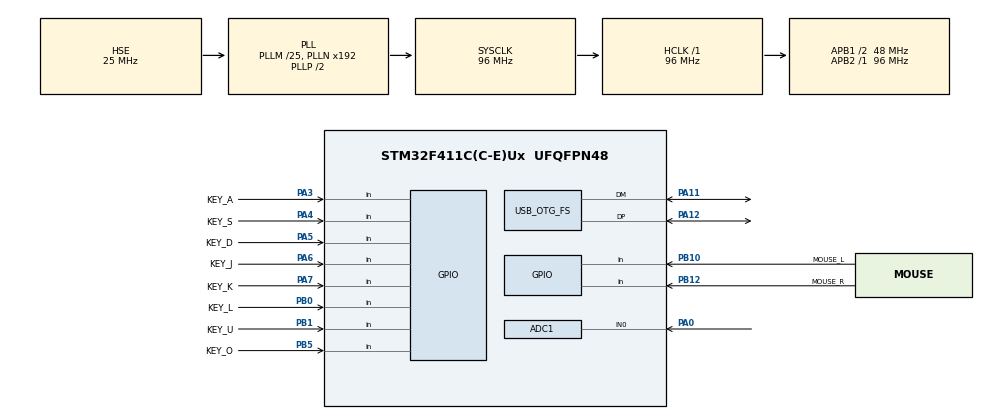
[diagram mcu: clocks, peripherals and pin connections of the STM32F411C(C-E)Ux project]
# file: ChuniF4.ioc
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ADC1.Channel-0\#ChannelRegularConversion=ADC_CHANNEL_0
ADC1.ContinuousConvMode=ENABLE
ADC1.DMAContinuousRequests=ENABLE
ADC1.NbrOfConversionFlag=1
ADC1.Rank-0\#ChannelRegularConversion=1
ADC1.SamplingTime-0\#ChannelRegularConversion=ADC_SAMPLETIME_84CYCLES
ADC1.master=1
Dma.ADC1.0.Direction=DMA_PERIPH_TO_MEMORY
Dma.ADC1.0.FIFOMode=DMA_FIFOMODE_DISABLE
Dma.ADC1.0.Instance=DMA2_Stream0
Dma.ADC1.0.MemDataAlignment=DMA_MDATAALIGN_HALFWORD
Dma.ADC1.0.MemInc=DMA_MINC_DISABLE
Dma.ADC1.0.Mode=DMA_CIRCULAR
Dma.ADC1.0.PeriphDataAlignment=DMA_PDATAALIGN_HALFWORD
Dma.ADC1.0.PeriphInc=DMA_PINC_DISABLE
Dma.ADC1.0.Priority=DMA_PRIORITY_MEDIUM
Dma.Request0=ADC1
Mcu.Family=STM32F4
Mcu.Name=STM32F411C(C-E)Ux
Mcu.Package=UFQFPN48
NVIC.DMA2_Stream0_IRQn=true\:0\:0\:false\:false\:true\:false\:true\:true
NVIC.OTG_FS_IRQn=true\:0\:0\:false\:false\:true\:false\:true\:true
NVIC.PriorityGroup=NVIC_PRIORITYGROUP_4
PA0-WKUP.Signal=ADCx_IN0
PA11.Mode=Device_Only
PA11.Signal=USB_OTG_FS_DM
PA12.Mode=Device_Only
PA12.Signal=USB_OTG_FS_DP
PA13.Mode=Serial_Wire
PA13.Signal=SYS_JTMS-SWDIO
PA14.Mode=Serial_Wire
PA14.Signal=SYS_JTCK-SWCLK
PA3.GPIO_Label=KEY_A
PA3.GPIO_PuPd=GPIO_PULLUP
PA3.Signal=GPIO_Input
PA4.GPIO_Label=KEY_S
PA4.GPIO_PuPd=GPIO_PULLUP
PA4.Signal=GPIO_Input
PA5.GPIO_Label=KEY_D
PA5.GPIO_PuPd=GPIO_PULLUP
PA5.Signal=GPIO_Input
PA6.GPIO_Label=KEY_J
PA6.GPIO_PuPd=GPIO_PULLUP
PA6.Signal=GPIO_Input
PA7.GPIO_Label=KEY_K
PA7.GPIO_PuPd=GPIO_PULLUP
PA7.Signal=GPIO_Input
PB0.GPIO_Label=KEY_L
PB0.GPIO_PuPd=GPIO_PULLUP
PB0.Signal=GPIO_Input
PB1.GPIO_Label=KEY_U
PB1.GPIO_PuPd=GPIO_PULLUP
PB1.Signal=GPIO_Input
PB10.GPIO_Label=MOUSE_L
PB10.GPIO_PuPd=GPIO_PULLUP
PB10.Signal=GPIO_Input
PB12.GPIO_Label=MOUSE_R
PB12.GPIO_PuPd=GPIO_PULLUP
PB12.Signal=GPIO_Input
PB5.GPIO_Label=KEY_O
PB5.GPIO_PuPd=GPIO_PULLUP
PB5.Signal=GPIO_Input
PC14-OSC32_IN.Mode=LSE-External-Oscillator
PC14-OSC32_IN.Signal=RCC_OSC32_IN
PC15-OSC32_OUT.Mode=LSE-External-Oscillator
PC15-OSC32_OUT.Signal=RCC_OSC32_OUT
PH0\ -\ OSC_IN.Mode=HSE-External-Oscillator
PH0\ -\ OSC_IN.Signal=RCC_OSC_IN
PH1\ -\ OSC_OUT.Mode=HSE-External-Oscillator
PH1\ -\ OSC_OUT.Signal=RCC_OSC_OUT
ProjectManager.HeapSize=0x200
ProjectManager.StackSize=0x400
ProjectManager.TargetToolchain=MDK-ARM V5.32
RCC.48MHZClocksFreq_Value=48000000
RCC.AHBFreq_Value=96000000
RCC.APB1CLKDivider=RCC_HCLK_DIV2
RCC.APB1Freq_Value=48000000
RCC.APB1TimFreq_Value=96000000
RCC.APB2Freq_Value=96000000
RCC.APB2TimFreq_Value=96000000
RCC.CortexFreq_Value=96000000
RCC.HCLKFreq_Value=96000000
RCC.HSE_VALUE=25000000
RCC.HSI_VALUE=16000000
RCC.PLLM=25
RCC.SYSCLKFreq_VALUE=96000000
RCC.SYSCLKSource=RCC_SYSCLKSOURCE_PLLCLK
RCC.VCOOutputFreq_Value=192000000
SH.ADCx_IN0.0=ADC1_IN0,IN0
USB_DEVICE.CLASS_NAME_FS=HID
USB_DEVICE.VirtualMode=Hid
USB_DEVICE.VirtualModeFS=Hid_FS
USB_OTG_FS.VirtualMode=Device_Only
VP_USB_DEVICE_VS_USB_DEVICE_HID_FS.Mode=HID_FS
board=custom

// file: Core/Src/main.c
/* USER CODE BEGIN Header */
/**
  ******************************************************************************
  * @file           : main.c
  * @brief          : Main program body
  ******************************************************************************
  */
/* USER CODE END Header */

#include "main.h"
#include "usb_device.h"

/* USER CODE BEGIN Includes */
#include "usbd_hid.h"
#include "lever_calibration.h"
/* USER CODE END Includes */

/* USER CODE BEGIN PD */

/*
 * IO4 Input Report
 *
 * Byte 0      :	  Report ID = 0x01
 * Byte 1~16   : ADC[0..7], uint16 little-endian
 * Byte 17~24  : Spinner[0..3]
 * Byte 25~28  : Chute[0..1]
 * Byte 29~30  : Buttons[0]
 * Byte 31~32  : Buttons[1]
 * Byte 33     : System Status
 * Byte 34     : USB Status
 * Byte 35~63  : LC v1 calibration status extension
 */
#define IO4_REPORT_SIZE        64U
#define IO4_REPORT_ID          0x01U

/*
 * ADC -> IO4 Analog 的映射与三点校准全部由 lever_calibration 模块负责。
 * 本文件不再持有任何转换参数。
 */

/* USER CODE END PD */

ADC_HandleTypeDef hadc1;
DMA_HandleTypeDef hdma_adc1;

/* USER CODE BEGIN PV */

extern USBD_HandleTypeDef hUsbDeviceFS;

/*
 * DMA不断把ADC最新结果写入这里
 */
volatile uint16_t adc_raw = 2048U;

/*
 * 1ms HID发送节拍
 */
static uint32_t last_hid_tick = 0U;

/*
 * 调试状态刷新节拍（100ms）
 */
static uint32_t last_debug_tick = 0U;

/*
 * 硬件验收调试变量。
 *
 * 只供调试器在线观察，不参与任何逻辑判断。
 * io4_debug_stats 每 100ms 非阻塞刷新一次。
 */
volatile USBD_HID_IO4StatsTypeDef io4_debug_stats;
volatile uint16_t io4_debug_lever = 0U;
volatile uint16_t io4_debug_buttons0 = 0U;
volatile uint16_t io4_debug_buttons1 = 0U;

/* USER CODE END PV */

void SystemClock_Config(void);
static void MX_GPIO_Init(void);
static void MX_DMA_Init(void);
static void MX_ADC1_Init(void);

/* USER CODE BEGIN PFP */

static void IO4_WriteU16(uint8_t *buffer, uint16_t value);
static void IO4_ReadButtons(uint16_t *buttons0, uint16_t *buttons1);
static void IO4_SendInputReport(void);
static void IO4_Task(void);

/* USER CODE END PFP */

/* USER CODE BEGIN 0 */

/*
 * 将uint16_t按照Little Endian写入USB Report。
 *
 * IO4的数据是Little Endian。
 */
static void IO4_WriteU16(uint8_t *buffer, uint16_t value)
{
    buffer[0] = (uint8_t)(value & 0xFFU);
    buffer[1] = (uint8_t)((value >> 8) & 0xFFU);
}

/*
 * 读取音击10个数字输入。
 *
 * 当前GPIO全部是：
 *
 * GPIO_PULLUP
 *
 * 因此：
 *
 * 普通八键：HIGH = 松开，LOW = 按下
 * 两个侧键 LS / RS：HIGH = 按下，LOW = 松开
 *
 *
 * 映射参考 ongeeki-firmware：
 *
 * 左侧：
 * A -> LA
 * S -> LB
 * D -> LC
 * MOUSE_L -> LS
 * U -> LM
 *
 * 右侧：
 * J -> RA
 * K -> RB
 * L -> RC
 * MOUSE_R -> RS
 * O -> RM
 */
static void IO4_ReadButtons(uint16_t *buttons0, uint16_t *buttons1)
{
    uint16_t b0 = 0U;
    uint16_t b1 = 0U;

    /* =====================================================
       Left A
       player 0 / bit 0
       ===================================================== */
    if (HAL_GPIO_ReadPin(KEY_A_GPIO_Port,
                         KEY_A_Pin) == GPIO_PIN_RESET)
    {
        b0 |= (1U << 0);
    }

    /* =====================================================
       Left B
       player 0 / bit 5
       ===================================================== */
    if (HAL_GPIO_ReadPin(KEY_S_GPIO_Port,
                         KEY_S_Pin) == GPIO_PIN_RESET)
    {
        b0 |= (1U << 5);
    }

    /* =====================================================
       Left C
       player 0 / bit 4
       ===================================================== */
    if (HAL_GPIO_ReadPin(KEY_D_GPIO_Port,
                         KEY_D_Pin) == GPIO_PIN_RESET)
    {
        b0 |= (1U << 4);
    }

    /* =====================================================
       Left Side
       player 1 / bit 15
       ===================================================== */
    if (HAL_GPIO_ReadPin(MOUSE_L_GPIO_Port,
                         MOUSE_L_Pin) == GPIO_PIN_SET)
    {
        b1 |= (1U << 15);
    }

    /* =====================================================
       Left Menu
       player 1 / bit 14
       ===================================================== */
    if (HAL_GPIO_ReadPin(KEY_U_GPIO_Port,
                         KEY_U_Pin) == GPIO_PIN_RESET)
    {
        b1 |= (1U << 14);
    }

    /* =====================================================
       Right A
       player 0 / bit 1
       ===================================================== */
    if (HAL_GPIO_ReadPin(KEY_J_GPIO_Port,
                         KEY_J_Pin) == GPIO_PIN_RESET)
    {
        b0 |= (1U << 1);
    }

    /* =====================================================
       Right B
       player 1 / bit 0
       ===================================================== */
    if (HAL_GPIO_ReadPin(KEY_K_GPIO_Port,
                         KEY_K_Pin) == GPIO_PIN_RESET)
    {
        b1 |= (1U << 0);
    }

    /* =====================================================
       Right C
       player 0 / bit 15
       ===================================================== */
    if (HAL_GPIO_ReadPin(KEY_L_GPIO_Port,
                         KEY_L_Pin) == GPIO_PIN_RESET)
    {
        b0 |= (1U << 15);
    }

    /* =====================================================
       Right Side
       player 0 / bit 14
       ===================================================== */
    if (HAL_GPIO_ReadPin(MOUSE_R_GPIO_Port,
                         MOUSE_R_Pin) == GPIO_PIN_SET)
    {
        b0 |= (1U << 14);
    }

    /* =====================================================
       Right Menu
       player 0 / bit 13
       ===================================================== */
    if (HAL_GPIO_ReadPin(KEY_O_GPIO_Port,
                         KEY_O_Pin) == GPIO_PIN_RESET)
    {
        b0 |= (1U << 13);
    }

    *buttons0 = b0;
    *buttons1 = b1;
}

/*
 * 构造并发送完整64-byte IO4 Input Report
 */
static void IO4_SendInputReport(void)
{
    /* USB transmits asynchronously: storage must outlive this function.
       IO4_Task only fills it when the previous transfer has completed. */
    static uint8_t report[IO4_REPORT_SIZE];

    uint16_t buttons0;
    uint16_t buttons1;

    uint16_t lever;

    /*
     * Report ID
     */
    report[0] = IO4_REPORT_ID;

    /*
     * Lever
     *
     * IO4:
     * ADC0 = Byte 1~2
     *
     * ADC -> IO4 的映射由 lever_calibration 模块负责。
     */
    lever = LeverCal_Convert(adc_raw);

    io4_debug_lever = lever;

    IO4_WriteU16(&report[1], lever);

    /*
     * ADC1~ADC7
     *
     * 当前全部保持0。
     *
     * report[3] ~ report[16]
     */

    /*
     * Spinner 0~3
     *
     * 当前全部为0。
     *
     * report[17] ~ report[24]
     */

    /*
     * Chute / Coin inputs
     *
     * 当前全部为0。
     *
     * report[25] ~ report[28]
     */

    /*
     * Buttons
     */
    IO4_ReadButtons(&buttons0, &buttons1);

    io4_debug_buttons0 = buttons0;
    io4_debug_buttons1 = buttons1;

    /*
     * Buttons[0]
     * Byte 29~30
     */
    IO4_WriteU16(&report[29], buttons0);

    /*
     * Buttons[1]
     * Byte 31~32
     */
    IO4_WriteU16(&report[31], buttons1);

    /*
     * System Status
     *
     * 完整 IO4 系统控制尚未实现，此字段保持 0。
     * 校准命令通过 0x10/C0/LC 扩展处理，状态写在 byte35..63。
     */
    report[33] = 0x00;

    /*
     * USB Status
     */
    report[34] = 0x00;

    /*
     * Byte 35~63: versioned lever calibration telemetry
     */

    LeverCal_WriteStatus(&report[35]);
    {
        USBD_HID_IO4StatsTypeDef stats;
        USBD_HID_GetIO4Stats(&stats);
        IO4_WriteU16(&report[62], (uint16_t)stats.calibration_queue_drops);
    }

    USBD_HID_SendReport(&hUsbDeviceFS,
                        report,
                        IO4_REPORT_SIZE);
}

/*
 * USB HID 1kHz发送任务
 */
static void IO4_Task(void)
{
    uint32_t now;
    static uint32_t generation;
    static uint32_t save_notice_started;
    static uint8_t save_notice_sent;
    uint8_t command[LEVER_CAL_COMMAND_SIZE];
    USBD_HID_IO4StatsTypeDef stats;

    now = HAL_GetTick();

    /*
     * 每1ms最多发送一帧
     */
    if (now == last_hid_tick)
    {
        return;
    }

    last_hid_tick = now;
    USBD_HID_GetIO4Stats(&stats);
    if (generation != stats.connection_generation)
    {
        generation = stats.connection_generation;
        LeverCal_Cancel(); /* never carry a pending capture across USB reset */
        save_notice_sent = 0U;
    }

    /*
     * USB没有完成枚举时不发送
     */
    if (hUsbDeviceFS.dev_state != USBD_STATE_CONFIGURED)
    {
        LeverCal_Cancel();
        save_notice_sent = 0U;
        return;
    }
    if (USBD_HID_GetNextCalibrationCommand(command))
    {
        (void)LeverCal_HandleCommand(command, sizeof(command), now);
    }
    LeverCal_Task(adc_raw, now,
        HAL_ADC_GetError(&hadc1) == HAL_ADC_ERROR_NONE &&
        HAL_DMA_GetError(&hdma_adc1) == HAL_DMA_ERROR_NONE &&
        (ADC1->CR2 & ADC_CR2_ADON) != 0U &&
        (hdma_adc1.Instance->CR & DMA_SxCR_EN) != 0U);
    if (LeverCal_SavePending())
    {
        if (save_notice_sent == 0U)
        {
            save_notice_started = now;
            save_notice_sent = 1U;
        }
        if (save_notice_sent == 1U)
        {
            /* Make the pending state visible before any potentially long erase. */
            if (USBD_HID_CanSendReport(&hUsbDeviceFS))
            {
                IO4_SendInputReport();
                save_notice_sent = 2U;
            }
            else if ((uint32_t)(now - save_notice_started) > 3000U)
            {
                LeverCal_SaveNoticeTimedOut();
                save_notice_sent = 0U;
            }
            return;
        }
        if (USBD_HID_CanSendReport(&hUsbDeviceFS))
        {
            /* The SAVING report reached the host. HAL keeps IRQs enabled;
               single-bank Flash busy can still pause code fetch / USB service. */
            LeverCal_ProcessSave();
            save_notice_sent = 0U;
        }
        else
        {
            if ((uint32_t)(now - save_notice_started) > 3000U)
            {
                LeverCal_SaveNoticeTimedOut();
                save_notice_sent = 0U;
            }
            return;
        }
    }
    else { save_notice_sent = 0U; }
    if (!USBD_HID_CanSendReport(&hUsbDeviceFS)) { return; }

    /*
     * 一帧包含当前全部状态：
     *
     * Lever
     * Buttons
     *
     * 即使没有发生变化，也持续发送。
     */
    IO4_SendInputReport();
}

/* USER CODE END 0 */

int main(void)
{

  /* MCU Configuration--------------------------------------------------------*/

  HAL_Init();

  /* USER CODE BEGIN Init */
  LeverCal_Init();

  /* USER CODE END Init */

  SystemClock_Config();

  /* Initialize all configured peripherals */
  MX_GPIO_Init();
  MX_DMA_Init();
  MX_ADC1_Init();
  MX_USB_DEVICE_Init();

  /* USER CODE BEGIN 2 */

  /*
   * 启动ADC Continuous + DMA
   */
  if (HAL_ADC_Start_DMA(&hadc1,
                        (uint32_t *)&adc_raw,
                        1) != HAL_OK)
  {
      Error_Handler();
  }

  /* DMA keeps refreshing adc_raw in hardware. Avoid an interrupt for every
     conversion: no HT/TC callbacks consume this single-word circular buffer.
     Transfer/error interrupts remain enabled. */
  __HAL_DMA_DISABLE_IT(&hdma_adc1, DMA_IT_HT | DMA_IT_TC);

  /* USER CODE END 2 */

  /* Infinite loop */
  /* USER CODE BEGIN WHILE */

  while (1)
  {
      IO4_Task();

    /* USER CODE END WHILE */

    /* USER CODE BEGIN 3 */

      /*
       * 每 100ms 非阻塞刷新一次 USB OUT 统计，供调试器在线观察。
       */
      if ((HAL_GetTick() - last_debug_tick) >= 100U)
      {
          last_debug_tick = HAL_GetTick();

          USBD_HID_GetIO4Stats((USBD_HID_IO4StatsTypeDef *)&io4_debug_stats);
      }
  }

  /* USER CODE END 3 */
}

void SystemClock_Config(void)
{
  RCC_OscInitTypeDef RCC_OscInitStruct = {0};
  RCC_ClkInitTypeDef RCC_ClkInitStruct = {0};

  /**
    * Configure the main internal regulator output voltage
    */
  __HAL_RCC_PWR_CLK_ENABLE();

  __HAL_PWR_VOLTAGESCALING_CONFIG(
      PWR_REGULATOR_VOLTAGE_SCALE1);

  /**
    * Initializes RCC Oscillators
    */
  RCC_OscInitStruct.OscillatorType =
      RCC_OSCILLATORTYPE_HSE;

  RCC_OscInitStruct.HSEState =
      RCC_HSE_ON;

  RCC_OscInitStruct.PLL.PLLState =
      RCC_PLL_ON;

  RCC_OscInitStruct.PLL.PLLSource =
      RCC_PLLSOURCE_HSE;

  RCC_OscInitStruct.PLL.PLLM = 25;

  RCC_OscInitStruct.PLL.PLLN = 192;

  RCC_OscInitStruct.PLL.PLLP =
      RCC_PLLP_DIV2;

  RCC_OscInitStruct.PLL.PLLQ = 4;

  if (HAL_RCC_OscConfig(
          &RCC_OscInitStruct) != HAL_OK)
  {
      Error_Handler();
  }

  /**
    * Initializes CPU, AHB and APB clocks
    */
  RCC_ClkInitStruct.ClockType =
      RCC_CLOCKTYPE_HCLK |
      RCC_CLOCKTYPE_SYSCLK |
      RCC_CLOCKTYPE_PCLK1 |
      RCC_CLOCKTYPE_PCLK2;

  RCC_ClkInitStruct.SYSCLKSource =
      RCC_SYSCLKSOURCE_PLLCLK;

  RCC_ClkInitStruct.AHBCLKDivider =
      RCC_SYSCLK_DIV1;

  RCC_ClkInitStruct.APB1CLKDivider =
      RCC_HCLK_DIV2;

  RCC_ClkInitStruct.APB2CLKDivider =
      RCC_HCLK_DIV1;

  if (HAL_RCC_ClockConfig(
          &RCC_ClkInitStruct,
          FLASH_LATENCY_3) != HAL_OK)
  {
      Error_Handler();
  }
}

static void MX_ADC1_Init(void)
{

  ADC_ChannelConfTypeDef sConfig = {0};

  /**
    * Configure ADC global features
    */
  hadc1.Instance = ADC1;

  hadc1.Init.ClockPrescaler =
      ADC_CLOCK_SYNC_PCLK_DIV4;

  hadc1.Init.Resolution =
      ADC_RESOLUTION_12B;

  hadc1.Init.ScanConvMode =
      DISABLE;

  hadc1.Init.ContinuousConvMode =
      ENABLE;

  hadc1.Init.DiscontinuousConvMode =
      DISABLE;

  hadc1.Init.ExternalTrigConvEdge =
      ADC_EXTERNALTRIGCONVEDGE_NONE;

  hadc1.Init.ExternalTrigConv =
      ADC_SOFTWARE_START;

  hadc1.Init.DataAlign =
      ADC_DATAALIGN_RIGHT;

  hadc1.Init.NbrOfConversion = 1;

  hadc1.Init.DMAContinuousRequests =
      ENABLE;

  hadc1.Init.EOCSelection =
      ADC_EOC_SINGLE_CONV;

  if (HAL_ADC_Init(&hadc1) != HAL_OK)
  {
      Error_Handler();
  }

  /**
    * ADC Channel 0
    */
  sConfig.Channel =
      ADC_CHANNEL_0;

  sConfig.Rank = 1;

  sConfig.SamplingTime =
      ADC_SAMPLETIME_84CYCLES;

  if (HAL_ADC_ConfigChannel(
          &hadc1,
          &sConfig) != HAL_OK)
  {
      Error_Handler();
  }
}

static void MX_DMA_Init(void)
{

  __HAL_RCC_DMA2_CLK_ENABLE();

  /*
   * DMA2_Stream0 interrupt configuration
   */
  HAL_NVIC_SetPriority(
      DMA2_Stream0_IRQn,
      0,
      0);

  HAL_NVIC_EnableIRQ(
      DMA2_Stream0_IRQn);
}

static void MX_GPIO_Init(void)
{
  GPIO_InitTypeDef GPIO_InitStruct = {0};

  /* GPIO Ports Clock Enable */

  __HAL_RCC_GPIOC_CLK_ENABLE();
  __HAL_RCC_GPIOH_CLK_ENABLE();
  __HAL_RCC_GPIOA_CLK_ENABLE();
  __HAL_RCC_GPIOB_CLK_ENABLE();

  /*
   * KEY_A
   * KEY_S
   * KEY_D
   * KEY_J
   * KEY_K
   */
  GPIO_InitStruct.Pin =
      KEY_A_Pin |
      KEY_S_Pin |
      KEY_D_Pin |
      KEY_J_Pin |
      KEY_K_Pin;

  GPIO_InitStruct.Mode =
      GPIO_MODE_INPUT;

  GPIO_InitStruct.Pull =
      GPIO_PULLUP;

  HAL_GPIO_Init(
      GPIOA,
      &GPIO_InitStruct);

  /*
   * KEY_L
   * KEY_U
   * KEY_O
   * MOUSE_L
   * MOUSE_R
   */
  GPIO_InitStruct.Pin =
      KEY_L_Pin |
      KEY_U_Pin |
      KEY_O_Pin |
      MOUSE_L_Pin |
      MOUSE_R_Pin;

  GPIO_InitStruct.Mode =
      GPIO_MODE_INPUT;

  GPIO_InitStruct.Pull =
      GPIO_PULLUP;

  HAL_GPIO_Init(
      GPIOB,
      &GPIO_InitStruct);
}

void Error_Handler(void)
{
  __disable_irq();
  while (1)
  {
  }
}

#ifdef USE_FULL_ASSERT

/**
  * @brief Reports the name of the source file and
  *        source line number where assert_param failed.
  * @param file: source file name
  * @param line: line number
  * @retval None
  */
void assert_failed(uint8_t *file, uint32_t line)
{
  /* USER CODE BEGIN 6 */

  /* User can add implementation here */

  /* USER CODE END 6 */
}

#endif /* USE_FULL_ASSERT */
